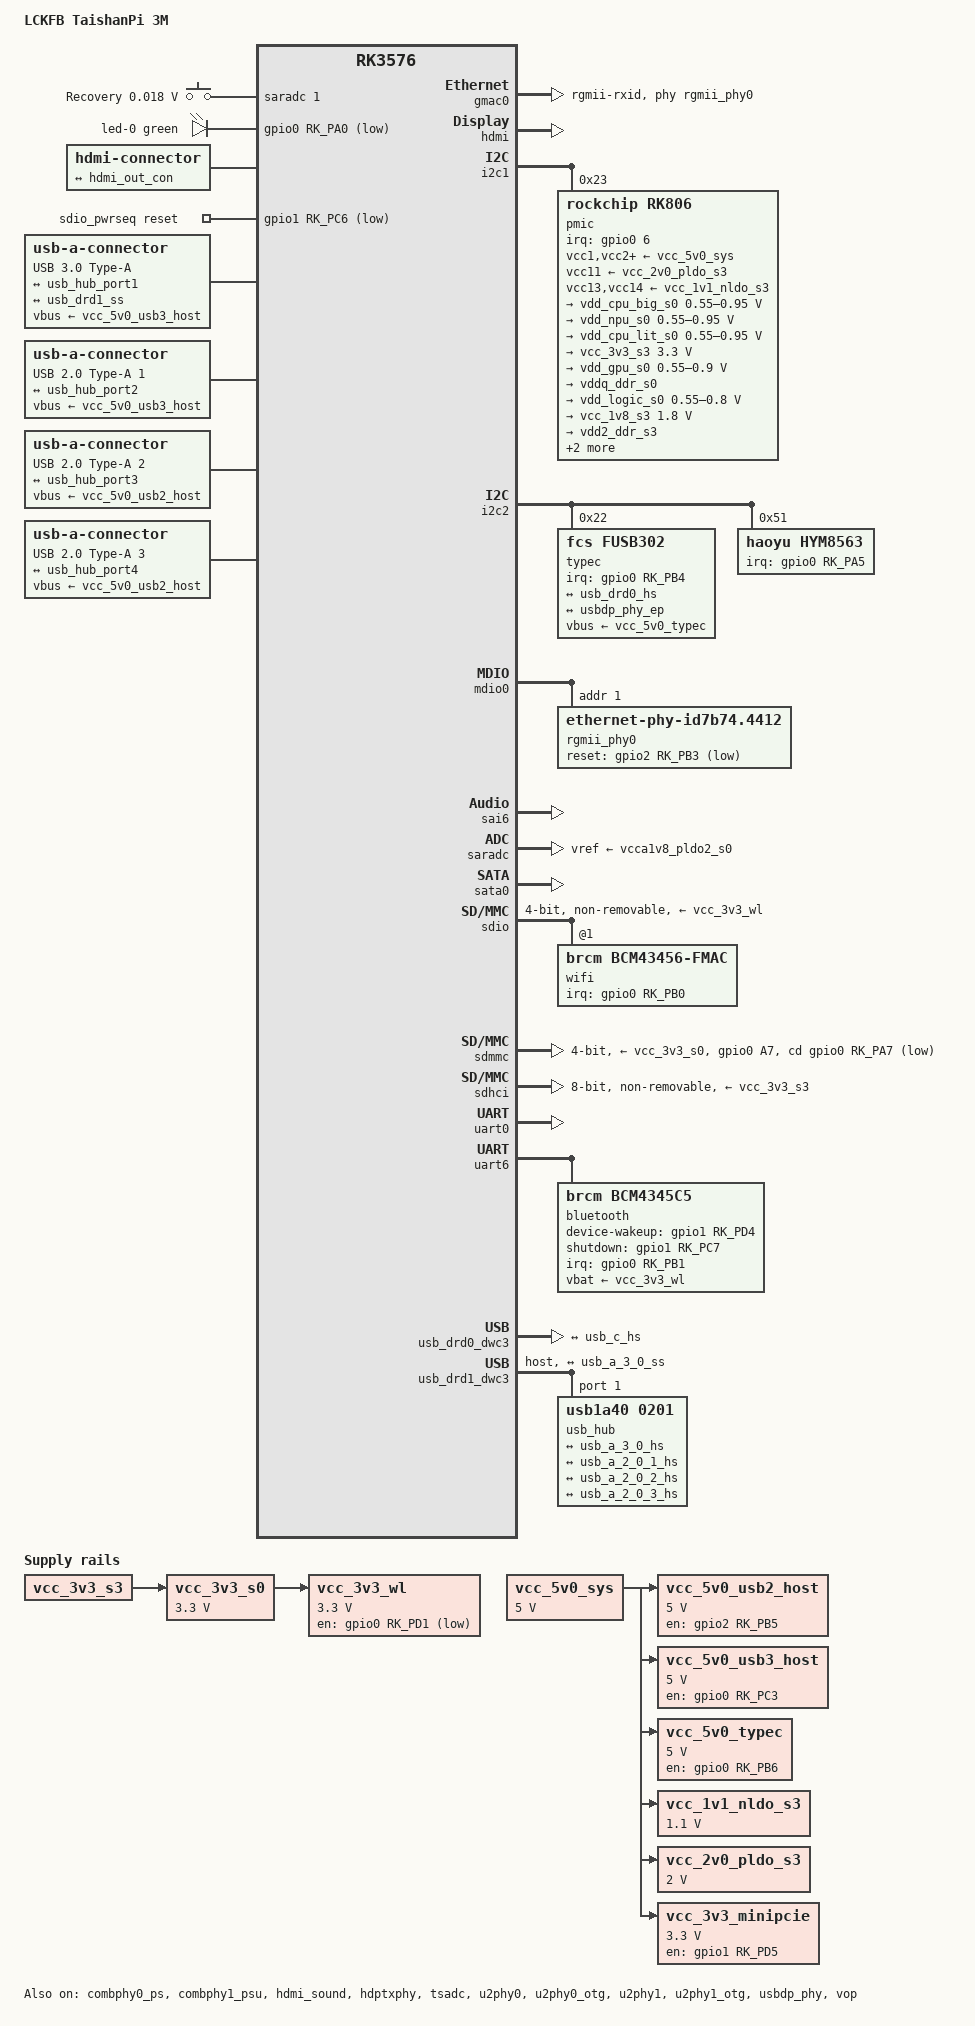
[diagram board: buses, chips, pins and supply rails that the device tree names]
// SPDX-License-Identifier: (GPL-2.0+ OR MIT)
/*
 * Copyright (c) 2026 LCKFB
 */

/dts-v1/;

#include <dt-bindings/gpio/gpio.h>
#include <dt-bindings/input/input.h>
#include <dt-bindings/interrupt-controller/irq.h>
#include <dt-bindings/leds/common.h>
#include <dt-bindings/pinctrl/rockchip.h>
#include <dt-bindings/soc/rockchip,vop2.h>
#include <dt-bindings/usb/pd.h>
#include "rk3576.dtsi"

/ {
	model = "LCKFB TaishanPi 3M";
	compatible = "lckfb,tspi-3m-rk3576", "rockchip,rk3576";

	aliases {
		mmc0 = &sdhci;
		mmc1 = &sdmmc;
	};

	chosen {
		stdout-path = "serial0:1500000n8";
	};

	adc-keys {
		compatible = "adc-keys";
		io-channels = <&saradc 1>;
		io-channel-names = "buttons";
		keyup-threshold-microvolt = <1800000>;
		poll-interval = <100>;

		button-recovery {
			label = "Recovery";
			linux,code = <KEY_VENDOR>;
			press-threshold-microvolt = <18000>;
		};
	};

	leds {
		compatible = "gpio-leds";

		led-0 {
			color = <LED_COLOR_ID_GREEN>;
			function = LED_FUNCTION_HEARTBEAT;
			gpios = <&gpio0 RK_PA0 GPIO_ACTIVE_LOW>;
			linux,default-trigger = "heartbeat";
		};
	};

	hdmi-con {
		compatible = "hdmi-connector";
		type = "a";

		port {
			hdmi_con_in: endpoint {
				remote-endpoint = <&hdmi_out_con>;
			};
		};
	};

	vcc_5v0_usb2_host: regulator-vcc-5v0-usb2-host {
		compatible = "regulator-fixed";
		enable-active-high;
		gpio = <&gpio2 RK_PB5 GPIO_ACTIVE_HIGH>;
		pinctrl-names = "default";
		pinctrl-0 = <&usb2_host_pwren>;
		regulator-max-microvolt = <5000000>;
		regulator-min-microvolt = <5000000>;
		regulator-name = "vcc_5v0_usb2_host";
		vin-supply = <&vcc_5v0_sys>;
	};

	vcc_5v0_usb3_host: regulator-vcc-5v0-usb3-host {
		compatible = "regulator-fixed";
		enable-active-high;
		gpio = <&gpio0 RK_PC3 GPIO_ACTIVE_HIGH>;
		pinctrl-names = "default";
		pinctrl-0 = <&usb3_host_pwren>;
		regulator-max-microvolt = <5000000>;
		regulator-min-microvolt = <5000000>;
		regulator-name = "vcc_5v0_usb3_host";
		vin-supply = <&vcc_5v0_sys>;
	};

	vcc_5v0_typec: regulator-vcc-5v0-typec {
		compatible = "regulator-fixed";
		enable-active-high;
		gpio = <&gpio0 RK_PB6 GPIO_ACTIVE_HIGH>;
		pinctrl-names = "default";
		pinctrl-0 = <&typec_vbus_en>;
		regulator-max-microvolt = <5000000>;
		regulator-min-microvolt = <5000000>;
		regulator-name = "vcc_5v0_typec";
		vin-supply = <&vcc_5v0_sys>;
	};

	vcc_5v0_sys: regulator-vcc-5v0-sys {
		compatible = "regulator-fixed";
		regulator-name = "vcc_5v0_sys";
		regulator-always-on;
		regulator-boot-on;
		regulator-min-microvolt = <5000000>;
		regulator-max-microvolt = <5000000>;
	};

	vcc_1v1_nldo_s3: regulator-vcc-1v1-nldo-s3 {
		compatible = "regulator-fixed";
		regulator-name = "vcc_1v1_nldo_s3";
		regulator-always-on;
		regulator-boot-on;
		regulator-min-microvolt = <1100000>;
		regulator-max-microvolt = <1100000>;
		vin-supply = <&vcc_5v0_sys>;
	};

	vcc_2v0_pldo_s3: regulator-vcc-2v0-pldo-s3 {
		compatible = "regulator-fixed";
		regulator-name = "vcc_2v0_pldo_s3";
		regulator-always-on;
		regulator-boot-on;
		regulator-min-microvolt = <2000000>;
		regulator-max-microvolt = <2000000>;
		vin-supply = <&vcc_5v0_sys>;
	};

	vcc_3v3_minipcie: regulator-vcc-3v3-minipcie {
		compatible = "regulator-fixed";
		enable-active-high;
		gpio = <&gpio1 RK_PD5 GPIO_ACTIVE_HIGH>;
		pinctrl-names = "default";
		pinctrl-0 = <&minipcie_pwren>;
		regulator-boot-on;
		regulator-max-microvolt = <3300000>;
		regulator-min-microvolt = <3300000>;
		regulator-name = "vcc_3v3_minipcie";
		startup-delay-us = <5000>;
		vin-supply = <&vcc_5v0_sys>;
	};

	vcc_3v3_wl: regulator-3v3-wl {
		compatible = "regulator-fixed";
		gpio = <&gpio0 RK_PD1 GPIO_ACTIVE_LOW>;
		pinctrl-names = "default";
		pinctrl-0 = <&wifi_pwren_l>;
		regulator-boot-on;
		regulator-max-microvolt = <3300000>;
		regulator-min-microvolt = <3300000>;
		regulator-name = "vcc_3v3_wl";
		vin-supply = <&vcc_3v3_s0>;
	};

	vcc_3v3_s0: regulator-vcc-3v3-s0 {
		compatible = "regulator-fixed";
		regulator-name = "vcc_3v3_s0";
		regulator-always-on;
		regulator-boot-on;
		regulator-min-microvolt = <3300000>;
		regulator-max-microvolt = <3300000>;
		vin-supply = <&vcc_3v3_s3>;
	};

	sdio_pwrseq: sdio-pwrseq {
		compatible = "mmc-pwrseq-simple";
		clock-names = "ext_clock";
		clocks = <&hym8563>;
		pinctrl-names = "default";
		pinctrl-0 = <&wifi_reg_on_h>;
		post-power-on-delay-ms = <200>;
		reset-gpios = <&gpio1 RK_PC6 GPIO_ACTIVE_LOW>;
	};

	usb_a_3_0: usb-a-connector-0 {
		compatible = "usb-a-connector";
		label = "USB 3.0 Type-A";
		vbus-supply = <&vcc_5v0_usb3_host>;

		ports {
			#address-cells = <1>;
			#size-cells = <0>;

			port@0 {
				reg = <0>;

				usb_a_3_0_hs: endpoint {
					remote-endpoint = <&usb_hub_port1>;
				};
			};

			port@1 {
				reg = <1>;

				usb_a_3_0_ss: endpoint {
					remote-endpoint = <&usb_drd1_ss>;
				};
			};
		};
	};

	usb_a_2_0_1: usb-a-connector-1 {
		compatible = "usb-a-connector";
		label = "USB 2.0 Type-A 1";
		vbus-supply = <&vcc_5v0_usb3_host>;

		port {
			usb_a_2_0_1_hs: endpoint {
				remote-endpoint = <&usb_hub_port2>;
			};
		};
	};

	usb_a_2_0_2: usb-a-connector-2 {
		compatible = "usb-a-connector";
		label = "USB 2.0 Type-A 2";
		vbus-supply = <&vcc_5v0_usb2_host>;

		port {
			usb_a_2_0_2_hs: endpoint {
				remote-endpoint = <&usb_hub_port3>;
			};
		};
	};

	usb_a_2_0_3: usb-a-connector-3 {
		compatible = "usb-a-connector";
		label = "USB 2.0 Type-A 3";
		vbus-supply = <&vcc_5v0_usb2_host>;

		port {
			usb_a_2_0_3_hs: endpoint {
				remote-endpoint = <&usb_hub_port4>;
			};
		};
	};
};

&combphy0_ps {
	status = "okay";
};

&combphy1_psu {
	status = "okay";
};

&cpu_b0 {
	cpu-supply = <&vdd_cpu_big_s0>;
};

&cpu_b1 {
	cpu-supply = <&vdd_cpu_big_s0>;
};

&cpu_b2 {
	cpu-supply = <&vdd_cpu_big_s0>;
};

&cpu_b3 {
	cpu-supply = <&vdd_cpu_big_s0>;
};

&cpu_l0 {
	cpu-supply = <&vdd_cpu_lit_s0>;
};

&cpu_l1 {
	cpu-supply = <&vdd_cpu_lit_s0>;
};

&cpu_l2 {
	cpu-supply = <&vdd_cpu_lit_s0>;
};

&cpu_l3 {
	cpu-supply = <&vdd_cpu_lit_s0>;
};

&gmac0 {
	clock_in_out = "input";
	phy-handle = <&rgmii_phy0>;
	/* RX delay is added by the PHY, TX delay by the GMAC. */
	phy-mode = "rgmii-rxid";
	pinctrl-names = "default";
	pinctrl-0 = <&eth0m0_miim
		     &eth0m0_tx_bus2
		     &eth0m0_rx_bus2
		     &eth0m0_rgmii_clk
		     &eth0m0_rgmii_bus
		     &eth0m0_mclk>;
	tx_delay = <0x24>;
	status = "okay";
};

&hdmi {
	/* The external level shifters must be on for TMDS operation. */
	frl-enable-gpios = <&gpio4 RK_PC6 GPIO_ACTIVE_LOW>;
	status = "okay";
};

&hdmi_in {
	hdmi_in_vp0: endpoint {
		remote-endpoint = <&vp0_out_hdmi>;
	};
};

&hdmi_out {
	hdmi_out_con: endpoint {
		remote-endpoint = <&hdmi_con_in>;
	};
};

&hdmi_sound {
	simple-audio-card,mclk-fs = <128>;
	status = "okay";

	simple-audio-card,cpu {
		dai-tdm-slot-num = <2>;
		dai-tdm-slot-width = <32>;
	};
};

&hdptxphy {
	status = "okay";
};

&i2c1 {
	status = "okay";

	pmic@23 {
		compatible = "rockchip,rk806";
		reg = <0x23>;
		#gpio-cells = <2>;
		gpio-controller;
		interrupt-parent = <&gpio0>;
		interrupts = <6 IRQ_TYPE_LEVEL_LOW>;
		pinctrl-names = "default";
		pinctrl-0 = <&pmic_pins
			     &rk806_dvs1_null
			     &rk806_dvs2_null
			     &rk806_dvs3_null>;
		system-power-controller;
		vcc1-supply = <&vcc_5v0_sys>;
		vcc2-supply = <&vcc_5v0_sys>;
		vcc3-supply = <&vcc_5v0_sys>;
		vcc4-supply = <&vcc_5v0_sys>;
		vcc5-supply = <&vcc_5v0_sys>;
		vcc6-supply = <&vcc_5v0_sys>;
		vcc7-supply = <&vcc_5v0_sys>;
		vcc8-supply = <&vcc_5v0_sys>;
		vcc9-supply = <&vcc_5v0_sys>;
		vcc10-supply = <&vcc_5v0_sys>;
		vcc11-supply = <&vcc_2v0_pldo_s3>;
		vcc12-supply = <&vcc_5v0_sys>;
		vcc13-supply = <&vcc_1v1_nldo_s3>;
		vcc14-supply = <&vcc_1v1_nldo_s3>;
		vcca-supply = <&vcc_5v0_sys>;

		rk806_dvs1_null: dvs1-null-pins {
			pins = "gpio_pwrctrl1";
			function = "pin_fun0";
		};

		rk806_dvs2_null: dvs2-null-pins {
			pins = "gpio_pwrctrl2";
			function = "pin_fun0";
		};

		rk806_dvs3_null: dvs3-null-pins {
			pins = "gpio_pwrctrl3";
			function = "pin_fun0";
		};

		regulators {
			vdd_cpu_big_s0: dcdc-reg1 {
				regulator-always-on;
				regulator-boot-on;
				regulator-enable-ramp-delay = <400>;
				regulator-min-microvolt = <550000>;
				regulator-max-microvolt = <950000>;
				regulator-name = "vdd_cpu_big_s0";
				regulator-ramp-delay = <12500>;

				regulator-state-mem {
					regulator-off-in-suspend;
				};
			};

			vdd_npu_s0: dcdc-reg2 {
				regulator-boot-on;
				regulator-enable-ramp-delay = <400>;
				regulator-min-microvolt = <550000>;
				regulator-max-microvolt = <950000>;
				regulator-name = "vdd_npu_s0";
				regulator-ramp-delay = <12500>;

				regulator-state-mem {
					regulator-off-in-suspend;
				};
			};

			vdd_cpu_lit_s0: dcdc-reg3 {
				regulator-always-on;
				regulator-boot-on;
				regulator-min-microvolt = <550000>;
				regulator-max-microvolt = <950000>;
				regulator-name = "vdd_cpu_lit_s0";
				regulator-ramp-delay = <12500>;

				regulator-state-mem {
					regulator-off-in-suspend;
				};
			};

			vcc_3v3_s3: dcdc-reg4 {
				regulator-always-on;
				regulator-boot-on;
				regulator-min-microvolt = <3300000>;
				regulator-max-microvolt = <3300000>;
				regulator-name = "vcc_3v3_s3";

				regulator-state-mem {
					regulator-on-in-suspend;
				};
			};

			vdd_gpu_s0: dcdc-reg5 {
				regulator-boot-on;
				regulator-enable-ramp-delay = <400>;
				regulator-min-microvolt = <550000>;
				regulator-max-microvolt = <900000>;
				regulator-name = "vdd_gpu_s0";
				regulator-ramp-delay = <12500>;

				regulator-state-mem {
					regulator-off-in-suspend;
				};
			};

			vddq_ddr_s0: dcdc-reg6 {
				regulator-always-on;
				regulator-boot-on;
				regulator-name = "vddq_ddr_s0";

				regulator-state-mem {
					regulator-off-in-suspend;
				};
			};

			vdd_logic_s0: dcdc-reg7 {
				regulator-always-on;
				regulator-boot-on;
				regulator-min-microvolt = <550000>;
				regulator-max-microvolt = <800000>;
				regulator-name = "vdd_logic_s0";

				regulator-state-mem {
					regulator-off-in-suspend;
				};
			};

			vcc_1v8_s3: dcdc-reg8 {
				regulator-always-on;
				regulator-boot-on;
				regulator-min-microvolt = <1800000>;
				regulator-max-microvolt = <1800000>;
				regulator-name = "vcc_1v8_s3";

				regulator-state-mem {
					regulator-on-in-suspend;
				};
			};

			vdd2_ddr_s3: dcdc-reg9 {
				regulator-always-on;
				regulator-boot-on;
				regulator-name = "vdd2_ddr_s3";

				regulator-state-mem {
					regulator-on-in-suspend;
				};
			};

			vdd_ddr_s0: dcdc-reg10 {
				regulator-always-on;
				regulator-boot-on;
				regulator-min-microvolt = <550000>;
				regulator-max-microvolt = <1200000>;
				regulator-name = "vdd_ddr_s0";

				regulator-state-mem {
					regulator-off-in-suspend;
				};
			};

			vcca_1v8_s0: pldo-reg1 {
				regulator-always-on;
				regulator-boot-on;
				regulator-min-microvolt = <1800000>;
				regulator-max-microvolt = <1800000>;
				regulator-name = "vcca_1v8_s0";

				regulator-state-mem {
					regulator-off-in-suspend;
				};
			};

			vcca1v8_pldo2_s0: pldo-reg2 {
				regulator-always-on;
				regulator-boot-on;
				regulator-min-microvolt = <1800000>;
				regulator-max-microvolt = <1800000>;
				regulator-name = "vcca1v8_pldo2_s0";

				regulator-state-mem {
					regulator-off-in-suspend;
				};
			};

			vdda_1v2_s0: pldo-reg3 {
				regulator-always-on;
				regulator-boot-on;
				regulator-min-microvolt = <1200000>;
				regulator-max-microvolt = <1200000>;
				regulator-name = "vdda_1v2_s0";

				regulator-state-mem {
					regulator-off-in-suspend;
				};
			};

			vcca_3v3_s0: pldo-reg4 {
				regulator-always-on;
				regulator-boot-on;
				regulator-min-microvolt = <3300000>;
				regulator-max-microvolt = <3300000>;
				regulator-name = "vcca_3v3_s0";

				regulator-state-mem {
					regulator-off-in-suspend;
				};
			};

			vccio_sd_s0: pldo-reg5 {
				regulator-always-on;
				regulator-boot-on;
				regulator-min-microvolt = <1800000>;
				regulator-max-microvolt = <3300000>;
				regulator-name = "vccio_sd_s0";

				regulator-state-mem {
					regulator-off-in-suspend;
				};
			};

			vcca1v8_pldo6_s3: pldo-reg6 {
				regulator-always-on;
				regulator-boot-on;
				regulator-min-microvolt = <1800000>;
				regulator-max-microvolt = <1800000>;
				regulator-name = "vcca1v8_pldo6_s3";

				regulator-state-mem {
					regulator-on-in-suspend;
				};
			};

			vdd_0v75_s3: nldo-reg1 {
				regulator-always-on;
				regulator-boot-on;
				regulator-min-microvolt = <750000>;
				regulator-max-microvolt = <750000>;
				regulator-name = "vdd_0v75_s3";

				regulator-state-mem {
					regulator-on-in-suspend;
				};
			};

			vdda_ddr_pll_s0: nldo-reg2 {
				regulator-always-on;
				regulator-boot-on;
				regulator-min-microvolt = <850000>;
				regulator-max-microvolt = <850000>;
				regulator-name = "vdda_ddr_pll_s0";

				regulator-state-mem {
					regulator-off-in-suspend;
				};
			};

			vdda_hdmi_s0: nldo-reg3 {
				regulator-always-on;
				regulator-boot-on;
				regulator-min-microvolt = <837500>;
				regulator-max-microvolt = <837500>;
				regulator-name = "vdda_hdmi_s0";

				regulator-state-mem {
					regulator-off-in-suspend;
				};
			};

			vdda_0v85_s0: nldo-reg4 {
				regulator-always-on;
				regulator-boot-on;
				regulator-min-microvolt = <850000>;
				regulator-max-microvolt = <850000>;
				regulator-name = "vdda_0v85_s0";

				regulator-state-mem {
					regulator-off-in-suspend;
				};
			};

			vdda_0v75_s0: nldo-reg5 {
				regulator-always-on;
				regulator-boot-on;
				regulator-min-microvolt = <750000>;
				regulator-max-microvolt = <750000>;
				regulator-name = "vdda_0v75_s0";

				regulator-state-mem {
					regulator-off-in-suspend;
				};
			};
		};
	};
};

&i2c2 {
	status = "okay";

	typec@22 {
		compatible = "fcs,fusb302";
		reg = <0x22>;
		interrupt-parent = <&gpio0>;
		interrupts = <RK_PB4 IRQ_TYPE_LEVEL_LOW>;
		pinctrl-names = "default";
		pinctrl-0 = <&fusb302_int>;
		vbus-supply = <&vcc_5v0_typec>;

		connector {
			compatible = "usb-c-connector";
			data-role = "host";
			label = "USB-C";
			power-role = "source";
			source-pdos = <PDO_FIXED(5000, 500, PDO_FIXED_USB_COMM)>;

			ports {
				#address-cells = <1>;
				#size-cells = <0>;

				port@0 {
					reg = <0>;

					usb_c_hs: endpoint {
						remote-endpoint = <&usb_drd0_hs>;
					};
				};

				port@1 {
					reg = <1>;

					usb_c_ss: endpoint {
						remote-endpoint = <&usbdp_phy_ep>;
					};
				};
			};
		};
	};

	hym8563: rtc@51 {
		compatible = "haoyu,hym8563";
		reg = <0x51>;
		#clock-cells = <0>;
		clock-output-names = "hym8563";
		interrupt-parent = <&gpio0>;
		interrupts = <RK_PA5 IRQ_TYPE_LEVEL_LOW>;
		pinctrl-names = "default";
		pinctrl-0 = <&rtc_int_l>;
		wakeup-source;
	};
};

&mdio0 {
	rgmii_phy0: ethernet-phy@1 {
		compatible = "ethernet-phy-id7b74.4412";
		reg = <0x1>;
		pinctrl-names = "default";
		pinctrl-0 = <&gmac0_phy_reset>;
		reset-assert-us = <20000>;
		reset-deassert-us = <100000>;
		reset-gpios = <&gpio2 RK_PB3 GPIO_ACTIVE_LOW>;
	};
};

&pinctrl {
	ethernet {
		gmac0_phy_reset: gmac0-phy-reset {
			rockchip,pins = <2 RK_PB3 RK_FUNC_GPIO &pcfg_pull_none>;
		};
	};

	minipcie {
		minipcie_pwren: minipcie-pwren {
			rockchip,pins = <1 RK_PD5 RK_FUNC_GPIO &pcfg_pull_none>;
		};
	};

	rtc {
		rtc_int_l: rtc-int-l {
			rockchip,pins = <0 RK_PA5 RK_FUNC_GPIO &pcfg_pull_up>;
		};
	};

	wireless-bluetooth {
		bt_host_wake_h: bt-host-wake-h {
			rockchip,pins = <0 RK_PB1 RK_FUNC_GPIO &pcfg_pull_down>;
		};

		bt_reg_on_h: bt-reg-on-h {
			rockchip,pins = <1 RK_PC7 RK_FUNC_GPIO &pcfg_pull_none>;
		};

		bt_wake_h: bt-wake-h {
			rockchip,pins = <1 RK_PD4 RK_FUNC_GPIO &pcfg_pull_none>;
		};
	};

	wireless-wlan {
		wifi_host_wake_h: wifi-host-wake-h {
			rockchip,pins = <0 RK_PB0 RK_FUNC_GPIO &pcfg_pull_down>;
		};

		wifi_pwren_l: wifi-pwren-l {
			rockchip,pins = <0 RK_PD1 RK_FUNC_GPIO &pcfg_pull_up>;
		};

		wifi_reg_on_h: wifi-reg-on-h {
			rockchip,pins = <1 RK_PC6 RK_FUNC_GPIO &pcfg_pull_up>;
		};
	};

	sdmmc {
		sdmmc0_det_l: sdmmc0-det-l {
			rockchip,pins = <0 RK_PA7 RK_FUNC_GPIO &pcfg_pull_up>;
		};
	};

	usb-host {
		usb2_host_pwren: usb2-host-pwren {
			rockchip,pins = <2 RK_PB5 RK_FUNC_GPIO &pcfg_pull_none>;
		};

		usb3_host_pwren: usb3-host-pwren {
			rockchip,pins = <0 RK_PC3 RK_FUNC_GPIO &pcfg_pull_none>;
		};
	};

	usb-typec {
		fusb302_int: fusb302-int {
			rockchip,pins = <0 RK_PB4 RK_FUNC_GPIO &pcfg_pull_up>;
		};

		typec_vbus_en: typec-vbus-en {
			rockchip,pins = <0 RK_PB6 RK_FUNC_GPIO &pcfg_pull_none>;
		};
	};
};

&sai6 {
	rockchip,sai-tx-route = <0>;
	status = "okay";
};

&saradc {
	vref-supply = <&vcca1v8_pldo2_s0>;
	status = "okay";
};

&sata0 {
	target-supply = <&vcc_3v3_minipcie>;
	status = "okay";
};

&sdio {
	bus-width = <4>;
	cap-sd-highspeed;
	cap-sdio-irq;
	keep-power-in-suspend;
	max-frequency = <100000000>;
	mmc-pwrseq = <&sdio_pwrseq>;
	no-mmc;
	no-sd;
	non-removable;
	sd-uhs-sdr104;
	vmmc-supply = <&vcc_3v3_wl>;
	#address-cells = <1>;
	#size-cells = <0>;
	status = "okay";

	wifi@1 {
		compatible = "brcm,bcm43456-fmac", "brcm,bcm4329-fmac";
		reg = <1>;
		interrupt-parent = <&gpio0>;
		interrupts = <RK_PB0 IRQ_TYPE_LEVEL_HIGH>;
		interrupt-names = "host-wake";
		pinctrl-names = "default";
		pinctrl-0 = <&wifi_host_wake_h>;
	};
};

&sdmmc {
	bus-width = <4>;
	cap-sd-highspeed;
	cd-gpios = <&gpio0 RK_PA7 GPIO_ACTIVE_LOW>;
	disable-wp;
	max-frequency = <50000000>;
	no-mmc;
	no-sdio;
	pinctrl-names = "default";
	/* GPIO0_B6/SDMMC0_PWREN is not connected on this board. */
	pinctrl-0 = <&sdmmc0_clk &sdmmc0_cmd &sdmmc0_det_l &sdmmc0_bus4>;
	vmmc-supply = <&vcc_3v3_s0>;
	vqmmc-supply = <&vccio_sd_s0>;
	status = "okay";
};

&sdhci {
	bus-width = <8>;
	full-pwr-cycle-in-suspend;
	mmc-hs400-1_8v;
	mmc-hs400-enhanced-strobe;
	no-sd;
	no-sdio;
	non-removable;
	vmmc-supply = <&vcc_3v3_s3>;
	vqmmc-supply = <&vcc_1v8_s3>;
	status = "okay";
};

&tsadc {
	status = "okay";
};

&uart0 {
	status = "okay";
};

&uart6 {
	pinctrl-names = "default";
	pinctrl-0 = <&uart6m1_xfer &uart6m1_ctsn &uart6m1_rtsn>;
	uart-has-rtscts;
	status = "okay";

	bluetooth {
		compatible = "brcm,bcm4345c5";
		clocks = <&hym8563>;
		clock-names = "lpo";
		device-wakeup-gpios = <&gpio1 RK_PD4 GPIO_ACTIVE_HIGH>;
		interrupt-parent = <&gpio0>;
		interrupts = <RK_PB1 IRQ_TYPE_LEVEL_HIGH>;
		interrupt-names = "host-wakeup";
		max-speed = <1500000>;
		pinctrl-names = "default";
		pinctrl-0 = <&bt_host_wake_h &bt_reg_on_h &bt_wake_h>;
		shutdown-gpios = <&gpio1 RK_PC7 GPIO_ACTIVE_HIGH>;
		vbat-supply = <&vcc_3v3_wl>;
	};
};

&u2phy0 {
	status = "okay";
};

&u2phy0_otg {
	status = "okay";
};

&u2phy1 {
	status = "okay";
};

&u2phy1_otg {
	status = "okay";
};

&usbdp_phy {
	mode-switch;
	orientation-switch;
	status = "okay";

	port {
		usbdp_phy_ep: endpoint {
			remote-endpoint = <&usb_c_ss>;
		};
	};
};

&usb_drd0_dwc3 {
	usb-role-switch;
	status = "okay";

	ports {
		#address-cells = <1>;
		#size-cells = <0>;

		port@0 {
			reg = <0>;

			usb_drd0_hs: endpoint {
				remote-endpoint = <&usb_c_hs>;
			};
		};
	};
};

&usb_drd1_dwc3 {
	#address-cells = <1>;
	#size-cells = <0>;

	dr_mode = "host";
	status = "okay";

	usb_hub: hub@1 {
		compatible = "usb1a40,0201";
		reg = <1>;

		ports {
			#address-cells = <1>;
			#size-cells = <0>;

			port@1 {
				reg = <1>;

				usb_hub_port1: endpoint {
					remote-endpoint = <&usb_a_3_0_hs>;
				};
			};

			port@2 {
				reg = <2>;

				usb_hub_port2: endpoint {
					remote-endpoint = <&usb_a_2_0_1_hs>;
				};
			};

			port@3 {
				reg = <3>;

				usb_hub_port3: endpoint {
					remote-endpoint = <&usb_a_2_0_2_hs>;
				};
			};

			port@4 {
				reg = <4>;

				usb_hub_port4: endpoint {
					remote-endpoint = <&usb_a_2_0_3_hs>;
				};
			};
		};
	};

	ports {
		#address-cells = <1>;
		#size-cells = <0>;

		port@1 {
			reg = <1>;

			usb_drd1_ss: endpoint {
				remote-endpoint = <&usb_a_3_0_ss>;
			};
		};
	};
};

&vop {
	status = "okay";
};

&vop_mmu {
	status = "okay";
};

&vp0 {
	vp0_out_hdmi: endpoint@ROCKCHIP_VOP2_EP_HDMI0 {
		reg = <ROCKCHIP_VOP2_EP_HDMI0>;
		remote-endpoint = <&hdmi_in_vp0>;
	};
};
